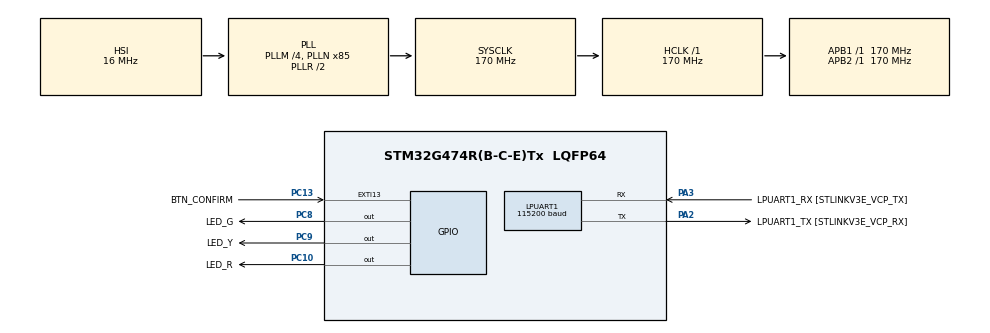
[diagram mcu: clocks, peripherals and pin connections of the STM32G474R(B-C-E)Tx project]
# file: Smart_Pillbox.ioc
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LPUART1.BaudRate=115200
Mcu.Family=STM32G4
Mcu.Name=STM32G474R(B-C-E)Tx
Mcu.Package=LQFP64
NVIC.EXTI15_10_IRQn=true\:0\:0\:false\:false\:true\:true\:true\:true
NVIC.LPUART1_IRQn=true\:0\:0\:false\:false\:true\:true\:true\:true
NVIC.PriorityGroup=NVIC_PRIORITYGROUP_4
NVIC.TIM2_IRQn=true\:0\:0\:false\:false\:true\:true\:true\:true
PA13.GPIO_Label=T_SWDIO
PA13.Signal=SYS_JTMS-SWDIO
PA14.GPIO_Label=T_SWCLK
PA14.Signal=SYS_JTCK-SWCLK
PA2.GPIO_Label=LPUART1_TX [STLINKV3E_VCP_RX]
PA2.Mode=Asynchronous
PA2.Signal=LPUART1_TX
PA3.GPIO_Label=LPUART1_RX [STLINKV3E_VCP_TX]
PA3.Mode=Asynchronous
PA3.Signal=LPUART1_RX
PB3.GPIO_Label=T_SWO
PB3.Signal=SYS_JTDO-SWO
PC10.GPIO_Label=LED_R
PC10.Signal=GPIO_Output
PC13.GPIO_Label=BTN_CONFIRM
PC13.Signal=GPXTI13
PC14-OSC32_IN.GPIO_Label=RCC_OSC32_IN
PC14-OSC32_IN.Signal=RCC_OSC32_IN
PC15-OSC32_OUT.GPIO_Label=RCC_OSC32_OUT
PC15-OSC32_OUT.Signal=RCC_OSC32_OUT
PC8.GPIO_Label=LED_G
PC8.Signal=GPIO_Output
PC9.GPIO_Label=LED_Y
PC9.Signal=GPIO_Output
PF0-OSC_IN.GPIO_Label=RCC_OSC_IN
PF0-OSC_IN.Signal=RCC_OSC_IN
PF1-OSC_OUT.GPIO_Label=RCC_OSC_OUT
PF1-OSC_OUT.Signal=RCC_OSC_OUT
ProjectManager.HeapSize=0x200
ProjectManager.StackSize=0x400
ProjectManager.TargetToolchain=STM32CubeIDE
RCC.ADC12Freq_Value=170000000
RCC.ADC345Freq_Value=170000000
RCC.AHBFreq_Value=170000000
RCC.APB1Freq_Value=170000000
RCC.APB1TimFreq_Value=170000000
RCC.APB2Freq_Value=170000000
RCC.APB2TimFreq_Value=170000000
RCC.CortexFreq_Value=170000000
RCC.EXTERNAL_CLOCK_VALUE=12288000
RCC.HCLKFreq_Value=170000000
RCC.HSE_VALUE=24000000
RCC.HSI48_VALUE=48000000
RCC.HSI_VALUE=16000000
RCC.LSE_VALUE=32768
RCC.PLLM=RCC_PLLM_DIV4
RCC.PLLN=85
RCC.RTCClockSelection=RCC_RTCCLKSOURCE_LSE
RCC.SYSCLKFreq_VALUE=170000000
RCC.SYSCLKSource=RCC_SYSCLKSOURCE_PLLCLK
RCC.USBFreq_Value=170000000
RCC.VCOOutputFreq_Value=340000000
TIM2.PeriodNoDither=999
TIM2.Prescaler=169
VP_SYS_VS_DBSignals.Mode=DisableDeadBatterySignals
VP_TIM2_VS_ClockSourceINT.Mode=Internal
board=NUCLEO-G474RE

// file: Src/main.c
/* USER CODE BEGIN Header */
/**
  ******************************************************************************
  * @file           : main.c
  * @brief          : Main program body
  ******************************************************************************
  * @attention
  *
  * Copyright (c) 2026 STMicroelectronics.
  * All rights reserved.
  *
  * This software is licensed under terms that can be found in the LICENSE file
  * in the root directory of this software component.
  * If no LICENSE file comes with this software, it is provided AS-IS.
  *
  ******************************************************************************
  */
/* USER CODE END Header */
#include "main.h"
#include "usart.h"
#include "tim.h"
#include "gpio.h"

/* USER CODE BEGIN Includes */
#include <stdio.h>
#include <string.h>
/* USER CODE END Includes */

/* USER CODE BEGIN PD */
#define BREAKFAST_START       15000
#define BREAKFAST_TIMEOUT    25000
#define BREAKFAST_MISSED     30000

#define DINNER_START         40000
#define DINNER_TIMEOUT       50000
#define DINNER_MISSED        55000

#define SYSTEM_END           60000

#define DEBOUNCE_TIME           50

#define LED_GREEN_PORT GPIOC
#define LED_GREEN_PIN  GPIO_PIN_8

#define LED_YELLOW_PORT GPIOC
#define LED_YELLOW_PIN  GPIO_PIN_9

#define LED_RED_PORT GPIOC
#define LED_RED_PIN  GPIO_PIN_10

#define BUTTON_PORT GPIOC
#define BUTTON_PIN  GPIO_PIN_13
/* USER CODE END PD */

/* USER CODE BEGIN PV */
volatile uint32_t system_ms = 0;

volatile uint32_t button_time = 0;
volatile uint8_t button_event = 0;

volatile uint32_t last_button_time = 0;
volatile uint8_t debounce_initialized = 0;

typedef enum
{
    RESULT_PENDING = 0,
    RESULT_ON_TIME,
    RESULT_LATE,
    RESULT_MISSED
} MedicationResult;

typedef enum
{
    STATE_WAIT = 0,
    STATE_BREAKFAST_REMINDER,
    STATE_BREAKFAST_TIMEOUT,
    STATE_BREAKFAST_MISSED,
    STATE_DINNER_REMINDER,
    STATE_DINNER_TIMEOUT,
    STATE_DINNER_MISSED,
    STATE_FINISHED
} SystemState;

MedicationResult breakfast_result = RESULT_PENDING;
MedicationResult dinner_result = RESULT_PENDING;

SystemState current_state = STATE_WAIT;

uint8_t final_output_done = 0;

char uart_buffer[200];
/* USER CODE END PV */

void SystemClock_Config(void);
/* USER CODE BEGIN PFP */
void LED_All_Off(void);
void LED_Green_On(void);
void LED_Yellow_On(void);
void LED_Red_On(void);

void Process_Button_Event(void);
void Process_State_Machine(void);

void UART_Send(char *message);
void UART_Final_Report(void);

const char* Get_Result_Name(MedicationResult result);
/* USER CODE END PFP */

int main(void)
{

  /* MCU Configuration--------------------------------------------------------*/

  /* Reset of all peripherals, Initializes the Flash interface and the Systick. */
  HAL_Init();

  /* Configure the system clock */
  SystemClock_Config();

  /* Initialize all configured peripherals */
  MX_GPIO_Init();
  MX_LPUART1_UART_Init();
  MX_TIM2_Init();
  /* USER CODE BEGIN 2 */
  LED_All_Off();

 system_ms = 0;

 breakfast_result = RESULT_PENDING;
 dinner_result = RESULT_PENDING;

 current_state = STATE_WAIT;

 final_output_done = 0;

 HAL_TIM_Base_Start_IT(&htim2);

 UART_Send("\r\n");
 UART_Send("================================\r\n");
 UART_Send(" Smart Medicine Reminder System\r\n");
 UART_Send(" System Started!\r\n");
 UART_Send("================================\r\n");

  /* USER CODE END 2 */

  /* Infinite loop */
  while (1)
  {

	   /* USER CODE BEGIN 3 */
	   Process_Button_Event();

	   Process_State_Machine();
	   /* USER CODE END 3 */
  }
}

void SystemClock_Config(void)
{
  RCC_OscInitTypeDef RCC_OscInitStruct = {0};
  RCC_ClkInitTypeDef RCC_ClkInitStruct = {0};

  /** Configure the main internal regulator output voltage
  */
  HAL_PWREx_ControlVoltageScaling(PWR_REGULATOR_VOLTAGE_SCALE1_BOOST);

  /** Initializes the RCC Oscillators according to the specified parameters
  * in the RCC_OscInitTypeDef structure.
  */
  RCC_OscInitStruct.OscillatorType = RCC_OSCILLATORTYPE_HSI;
  RCC_OscInitStruct.HSIState = RCC_HSI_ON;
  RCC_OscInitStruct.HSICalibrationValue = RCC_HSICALIBRATION_DEFAULT;
  RCC_OscInitStruct.PLL.PLLState = RCC_PLL_ON;
  RCC_OscInitStruct.PLL.PLLSource = RCC_PLLSOURCE_HSI;
  RCC_OscInitStruct.PLL.PLLM = RCC_PLLM_DIV4;
  RCC_OscInitStruct.PLL.PLLN = 85;
  RCC_OscInitStruct.PLL.PLLP = RCC_PLLP_DIV2;
  RCC_OscInitStruct.PLL.PLLQ = RCC_PLLQ_DIV2;
  RCC_OscInitStruct.PLL.PLLR = RCC_PLLR_DIV2;
  if (HAL_RCC_OscConfig(&RCC_OscInitStruct) != HAL_OK)
  {
    Error_Handler();
  }

  /** Initializes the CPU, AHB and APB buses clocks
  */
  RCC_ClkInitStruct.ClockType = RCC_CLOCKTYPE_HCLK|RCC_CLOCKTYPE_SYSCLK
                              |RCC_CLOCKTYPE_PCLK1|RCC_CLOCKTYPE_PCLK2;
  RCC_ClkInitStruct.SYSCLKSource = RCC_SYSCLKSOURCE_PLLCLK;
  RCC_ClkInitStruct.AHBCLKDivider = RCC_SYSCLK_DIV1;
  RCC_ClkInitStruct.APB1CLKDivider = RCC_HCLK_DIV1;
  RCC_ClkInitStruct.APB2CLKDivider = RCC_HCLK_DIV1;

  if (HAL_RCC_ClockConfig(&RCC_ClkInitStruct, FLASH_LATENCY_4) != HAL_OK)
  {
    Error_Handler();
  }
}

/* USER CODE BEGIN 4 */
void LED_All_Off(void)
{
    HAL_GPIO_WritePin(GPIOC,
                      GPIO_PIN_8 | GPIO_PIN_9 | GPIO_PIN_10,
                      GPIO_PIN_RESET);
}

void LED_Green_On(void)
{
    LED_All_Off();

    HAL_GPIO_WritePin(LED_GREEN_PORT,
                      LED_GREEN_PIN,
                      GPIO_PIN_SET);
}

void LED_Yellow_On(void)
{
    LED_All_Off();

    HAL_GPIO_WritePin(LED_YELLOW_PORT,
                      LED_YELLOW_PIN,
                      GPIO_PIN_SET);
}

void LED_Red_On(void)
{
    LED_All_Off();

    HAL_GPIO_WritePin(LED_RED_PORT,
                      LED_RED_PIN,
                      GPIO_PIN_SET);
}

void UART_Send(char *message)
{
    HAL_UART_Transmit(&hlpuart1,
                      (uint8_t*)message,
                      strlen(message),
                      100);
}

const char* Get_Result_Name(MedicationResult result)
{
    switch(result)
    {
        case RESULT_ON_TIME:
            return "ON TIME";

        case RESULT_LATE:
            return "LATE";

        case RESULT_MISSED:
            return "MISSED - NOT TAKEN";

        default:
            return "PENDING";
    }
}
void Process_Button_Event(void)
{
    uint8_t event;
    uint32_t press_time;

    __disable_irq();

    event = button_event;
    press_time = button_time;

    button_event = 0;

    __enable_irq();

    if(event == 0)
    {
        return;
    }

    /* 早餐判斷 */

    if(breakfast_result == RESULT_PENDING)
    {
        if(press_time >= BREAKFAST_START &&
           press_time < BREAKFAST_TIMEOUT)
        {
            breakfast_result = RESULT_ON_TIME;

            LED_Green_On();

            UART_Send("[BREAKFAST] ON TIME\r\n");

            return;
        }

        else if(press_time >= BREAKFAST_TIMEOUT &&
                press_time < BREAKFAST_MISSED)
        {
            breakfast_result = RESULT_LATE;

            LED_Green_On();

            UART_Send("[BREAKFAST] LATE\r\n");

            return;
        }
    }

    /* 晚餐判斷 */

    if(dinner_result == RESULT_PENDING)
    {
        if(press_time >= DINNER_START &&
           press_time < DINNER_TIMEOUT)
        {
            dinner_result = RESULT_ON_TIME;

            LED_Green_On();

            UART_Send("[DINNER] ON TIME\r\n");

            return;
        }

        else if(press_time >= DINNER_TIMEOUT &&
                press_time < DINNER_MISSED)
        {
            dinner_result = RESULT_LATE;

            LED_Green_On();

            UART_Send("[DINNER] LATE\r\n");

            return;
        }
    }
}

void Process_State_Machine(void)
{
    uint32_t now = system_ms;

    /* ========================= */
    /* WAIT */
    /* ========================= */

    if(now < BREAKFAST_START)
    {
        current_state = STATE_WAIT;

        LED_All_Off();
    }

    /* ========================= */
    /* BREAKFAST REMINDER */
    /* ========================= */

    else if(now < BREAKFAST_TIMEOUT)
    {
        if(breakfast_result == RESULT_PENDING)
        {
            current_state = STATE_BREAKFAST_REMINDER;

            LED_Yellow_On();
        }
    }

    /* ========================= */
    /* BREAKFAST TIMEOUT */
    /* ========================= */

    else if(now < BREAKFAST_MISSED)
    {
        if(breakfast_result == RESULT_PENDING)
        {
            current_state = STATE_BREAKFAST_TIMEOUT;

            LED_Red_On();
        }
    }

    /* ========================= */
    /* BREAKFAST MISSED */
    /* ========================= */

    else if(now < DINNER_START)
    {
        if(breakfast_result == RESULT_PENDING)
        {
            breakfast_result = RESULT_MISSED;

            UART_Send("[BREAKFAST] MISSED - NOT TAKEN\r\n");
        }

        current_state = STATE_BREAKFAST_MISSED;

        LED_All_Off();
    }

    /* ========================= */
    /* DINNER REMINDER */
    /* ========================= */

    else if(now < DINNER_TIMEOUT)
    {
        if(dinner_result == RESULT_PENDING)
        {
            current_state = STATE_DINNER_REMINDER;

            LED_Yellow_On();
        }
    }

    /* ========================= */
    /* DINNER TIMEOUT */
    /* ========================= */

    else if(now < DINNER_MISSED)
    {
        if(dinner_result == RESULT_PENDING)
        {
            current_state = STATE_DINNER_TIMEOUT;

            LED_Red_On();
        }
    }

    /* ========================= */
    /* DINNER MISSED */
    /* ========================= */

    else if(now < SYSTEM_END)
    {
        if(dinner_result == RESULT_PENDING)
        {
            dinner_result = RESULT_MISSED;

            UART_Send("[DINNER] MISSED - NOT TAKEN\r\n");
        }

        current_state = STATE_DINNER_MISSED;

        LED_All_Off();
    }

    /* ========================= */
    /* FINISHED */
    /* ========================= */

    else
    {
        current_state = STATE_FINISHED;

        LED_All_Off();

        if(final_output_done == 0)
        {
            final_output_done = 1;

            UART_Final_Report();
        }
    }
}

void UART_Final_Report(void)
{
    snprintf(uart_buffer,
             sizeof(uart_buffer),
             "\r\n");

    UART_Send(uart_buffer);

    UART_Send("================================\r\n");
    UART_Send("       DAILY FINAL REPORT       \r\n");
    UART_Send("================================\r\n");

    snprintf(uart_buffer,
             sizeof(uart_buffer),
             "Breakfast : %s\r\n",
             Get_Result_Name(breakfast_result));

    UART_Send(uart_buffer);

    snprintf(uart_buffer,
             sizeof(uart_buffer),
             "Dinner    : %s\r\n",
             Get_Result_Name(dinner_result));

    UART_Send(uart_buffer);

    UART_Send("--------------------------------\r\n");

    if(breakfast_result == RESULT_ON_TIME &&
       dinner_result == RESULT_ON_TIME)
    {
        UART_Send("Daily Status: ALL ON TIME\r\n");
    }
    else if(breakfast_result == RESULT_MISSED &&
            dinner_result == RESULT_MISSED)
    {
        UART_Send("Daily Status: ALL MEDICATIONS MISSED\r\n");
    }
    else
    {
        UART_Send("Daily Status: COMPLETED WITH EXCEPTIONS\r\n");
    }

    UART_Send("================================\r\n");
    UART_Send("       SYSTEM FINISHED          \r\n");
    UART_Send("================================\r\n");
}

void HAL_TIM_PeriodElapsedCallback(TIM_HandleTypeDef *htim)
{
    if(htim->Instance == TIM2)
    {
        system_ms++;
    }
}

void HAL_GPIO_EXTI_Callback(uint16_t GPIO_Pin)
{
    if(GPIO_Pin == GPIO_PIN_13)
    {
        uint32_t now = system_ms;

        /* Debounce: 50ms */

        if(debounce_initialized == 0 ||
           (now - last_button_time) >= DEBOUNCE_TIME)
        {
            last_button_time = now;

            debounce_initialized = 1;

            button_time = now;

            button_event = 1;
        }
    }
}
/* USER CODE END 4 */

void Error_Handler(void)
{
  __disable_irq();
  while (1)
  {
  }
}
